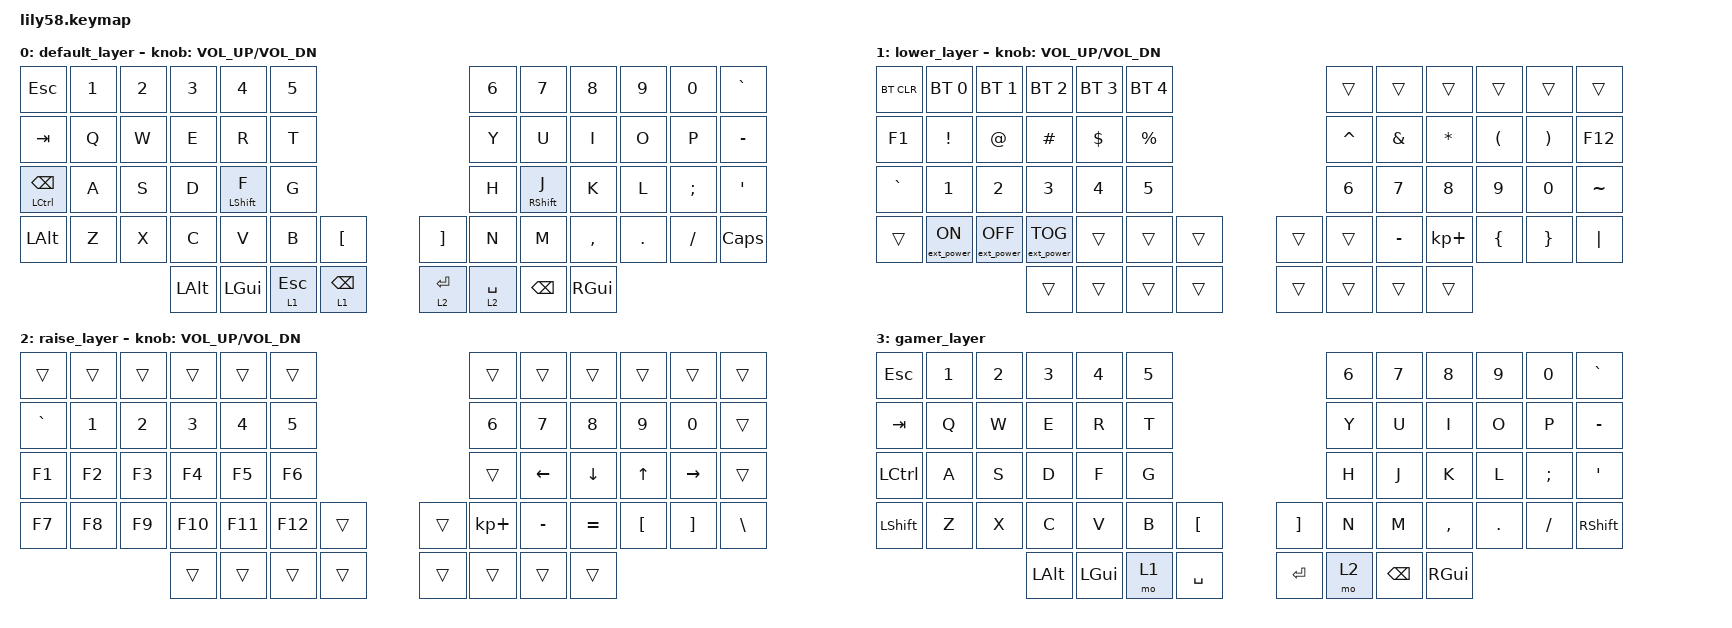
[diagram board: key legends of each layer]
/*
 * Copyright (c) 2020 The ZMK Contributors
 *
 * SPDX-License-Identifier: MIT
 */

#include <behaviors.dtsi>
#include <dt-bindings/zmk/bt.h>
#include <dt-bindings/zmk/ext_power.h>
#include <dt-bindings/zmk/keys.h>

/ {
    combos {
        compatible = "zmk,combos";

        gaming {
            bindings = <&tog 3>;
            key-positions = <50 51 52>;
        };

        bootloader1 {
            bindings = <&bootloader>;
            key-positions = <17 5 29>;
        };

        bootloader2 {
            bindings = <&bootloader>;
            key-positions = <6 18 30>;
        };
    };

    keymap {
        compatible = "zmk,keymap";

        default_layer {
            // ------------------------------------------------------------------------------------------------------------
            // |  ESC  |  1  |  2  |  3   |  4   |  5   |                   |  6   |  7    |  8    |  9   |   0   |   `   |
            // |  TAB  |  Q  |  W  |  E   |  R   |  T   |                   |  Y   |  U    |  I    |  O   |   P   |   -   |
            // |  CTRL |  A  |  S  |  D   |  F   |  G   |                   |  H   |  J    |  K    |  L   |   ;   |   '   |
            // | SHIFT |  Z  |  X  |  C   |  V   |  B   |   "["  |  |  "]"  |  N   |  M    |  ,    |  .   |   /   | SHIFT |
            //                     | ALT  | GUI  | LOWER|  SPACE |  | ENTER | RAISE| BSPC  | GUI   |

            bindings = <
            &kp ESC  &kp N1  &kp N2    &kp N3            &kp N4        &kp N5                                       &kp N6             &kp N7     &kp N8   &kp N9         &kp N0     &kp GRAVE
            &kp TAB   &kp Q   &kp W     &kp E             &kp R         &kp T                                        &kp Y              &kp U      &kp I    &kp O          &kp P     &kp MINUS
&mt LCTRL BACKSPACE   &kp A   &kp S     &kp D  &mt LEFT_SHIFT F         &kp G                                        &kp H  &mt RIGHT_SHIFT J      &kp K    &kp L  &kp SEMICOLON       &kp SQT
       &kp LEFT_ALT   &kp Z   &kp X     &kp C             &kp V         &kp B         &kp LBKT       &kp RBKT        &kp N              &kp M  &kp COMMA  &kp DOT       &kp FSLH  &kp CAPSLOCK
                                     &kp LALT          &kp LGUI  &lt 1 ESCAPE  &lt 1 BACKSPACE    &lt 2 ENTER  &lt 2 SPACE      &kp BACKSPACE   &kp RGUI
            >;

            sensor-bindings = <&inc_dec_kp C_VOL_UP C_VOL_DN>;
        };

        lower_layer {
            // ------------------------------------------------------------------------------------------------------------
            // | BTCLR | BT1 | BT2 |  BT3 |  BT4 |  BT5 |                   |      |       |       |      |       |       |
            // |  F1   |  F2 |  F3 |  F4  |  F5  |  F6  |                   |  F7  |  F8   |  F9   |  F10 |  F11  |  F12  |
            // |   `   |  !  |  @  |  #   |  $   |  %   |                   |  ^   |  &    |  *    |  (   |   )   |   ~   |
            // |       |     |     |      |      |      |        |  |       |      |  _    |  +    |  {   |   }   |  "|"  |
            //                     |      |      |      |        |  |       |      |       |       |

            bindings = <
&bt BT_CLR      &bt BT_SEL 0       &bt BT_SEL 1       &bt BT_SEL 2  &bt BT_SEL 3  &bt BT_SEL 4                          &trans         &trans        &trans                &trans                 &trans     &trans
    &kp F1   &kp EXCLAMATION        &kp AT_SIGN           &kp HASH    &kp DOLLAR   &kp PERCENT                       &kp CARET  &kp AMPERSAND  &kp ASTERISK  &kp LEFT_PARENTHESIS  &kp RIGHT_PARENTHESIS    &kp F12
 &kp GRAVE      &kp NUMBER_1       &kp NUMBER_2       &kp NUMBER_3  &kp NUMBER_4  &kp NUMBER_5                    &kp NUMBER_6   &kp NUMBER_7  &kp NUMBER_8          &kp NUMBER_9           &kp NUMBER_0  &kp TILDE
    &trans  &ext_power EP_ON  &ext_power EP_OFF  &ext_power EP_TOG        &trans        &trans  &trans    &trans        &trans      &kp MINUS   &kp KP_PLUS              &kp LBRC               &kp RBRC   &kp PIPE
                                                            &trans        &trans        &trans  &trans    &trans        &trans         &trans        &trans
            >;

            sensor-bindings = <&inc_dec_kp C_VOL_UP C_VOL_DN>;
        };

        raise_layer {
            // ------------------------------------------------------------------------------------------------------------
            // |       |     |     |      |      |      |                   |      |       |       |      |       |       |
            // |   `   |  1  |  2  |  3   |  4   |  5   |                   |  6   |   7   |   8   |  9   |   0   |       |
            // |   F1  |  F2 |  F3 |  F4  |  F5  |  F6  |                   |      |   <-  |   v   |  ^   |  ->   |       |
            // |   F7  |  F8 |  F9 |  F10 |  F11 |  F12 |        |  |       |  +   |   -   |   =   |  [   |   ]   |   \   |
            //                     |      |      |      |        |  |       |      |       |       |

            bindings = <
   &trans  &trans  &trans   &trans   &trans   &trans                         &trans     &trans     &trans    &trans     &trans    &trans
&kp GRAVE  &kp N1  &kp N2   &kp N3   &kp N4   &kp N5                         &kp N6     &kp N7     &kp N8    &kp N9     &kp N0    &trans
   &kp F1  &kp F2  &kp F3   &kp F4   &kp F5   &kp F6                         &trans   &kp LEFT   &kp DOWN    &kp UP  &kp RIGHT    &trans
   &kp F7  &kp F8  &kp F9  &kp F10  &kp F11  &kp F12  &trans    &trans  &kp KP_PLUS  &kp MINUS  &kp EQUAL  &kp LBKT   &kp RBKT  &kp BSLH
                            &trans   &trans   &trans  &trans    &trans       &trans     &trans     &trans
            >;

            sensor-bindings = <&inc_dec_kp C_VOL_UP C_VOL_DN>;
        };

        gamer_layer {
            bindings = <
  &kp ESC  &kp N1  &kp N2    &kp N3    &kp N4  &kp N5                         &kp N6    &kp N7     &kp N8   &kp N9    &kp N0  &kp GRAVE
  &kp TAB   &kp Q   &kp W     &kp E     &kp R   &kp T                          &kp Y     &kp U      &kp I    &kp O     &kp P  &kp MINUS
&kp LCTRL   &kp A   &kp S     &kp D     &kp F   &kp G                          &kp H     &kp J      &kp K    &kp L  &kp SEMI    &kp SQT
&kp LSHFT   &kp Z   &kp X     &kp C     &kp V   &kp B   &kp LBKT    &kp RBKT   &kp N     &kp M  &kp COMMA  &kp DOT  &kp FSLH  &kp RSHFT
                           &kp LALT  &kp LGUI   &mo 1  &kp SPACE     &kp RET   &mo 2  &kp BSPC   &kp RGUI
            >;
        };
    };
};
